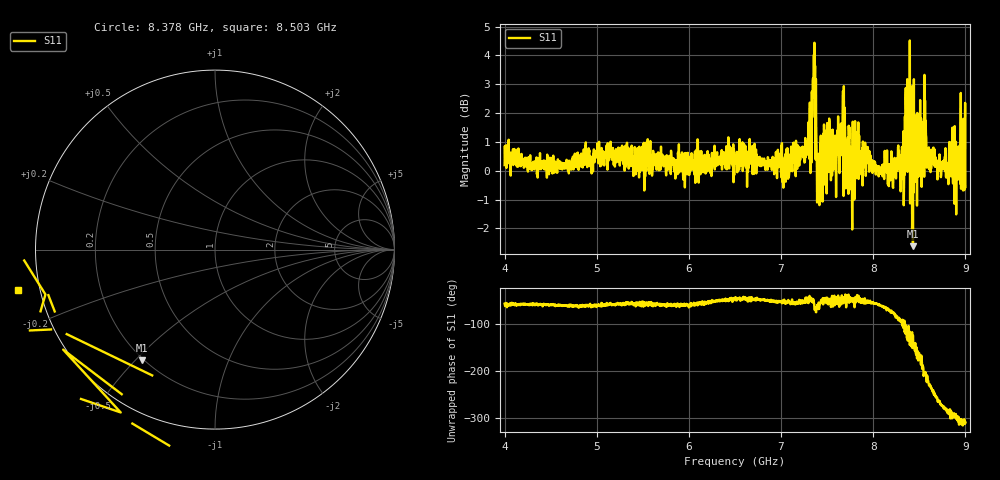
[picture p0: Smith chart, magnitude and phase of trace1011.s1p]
! Created with skrf 1.8.0 (http://scikit-rf.org).
# Hz S RI R 50.0
!freq ReS11 ImS11
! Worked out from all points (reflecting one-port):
!   1601 points, 4 GHz to 9 GHz, reference 50 ohm
!   lowest |S11| = -2.6 dB at 8.431 GHz (marker M1), VSWR 6.70, Z = 9.55 - j26.1 ohm
!   phase of S11 starts at -56 deg and turns -253 deg over the sweep
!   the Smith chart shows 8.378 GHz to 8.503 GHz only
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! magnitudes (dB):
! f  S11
! 4 GHz  0.2
! 4.625 GHz  0.0
! 5.25 GHz  0.2
! 5.875 GHz  0.3
! 6.5 GHz  0.3
! 7.038 GHz  0.2
! 7.125 GHz  0.6
! 7.269 GHz  0.6
! 7.306 GHz  0.4
! 7.356 GHz  4.0
! 7.397 GHz  -0.9
! 7.412 GHz  -0.2
! 7.509 GHz  0.7
! 7.575 GHz  0.7
! 7.669 GHz  2.2
! 7.75 GHz  0.1
! 7.784 GHz  -0.5
! 7.828 GHz  0.3
! 8.097 GHz  0.2
! 8.316 GHz  0.7
! 8.375 GHz  0.9
! 8.431 GHz  -2.6
! 8.553 GHz  -0.2
! 8.606 GHz  0.1
! 8.794 GHz  -0.2
! 8.847 GHz  0.8
! 8.972 GHz  0.8
! 9 GHz  -0.6
